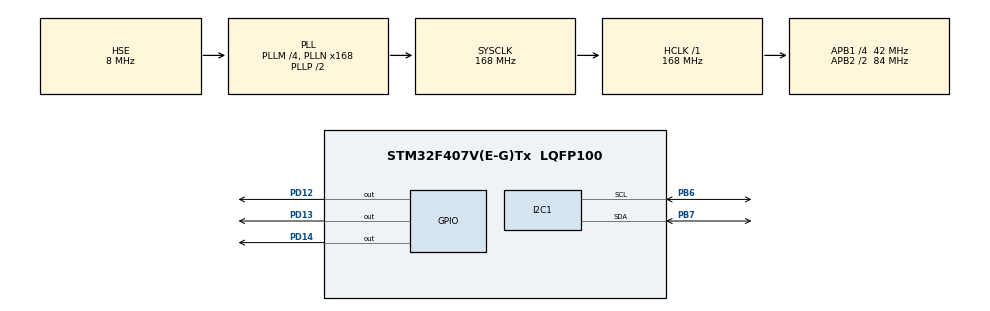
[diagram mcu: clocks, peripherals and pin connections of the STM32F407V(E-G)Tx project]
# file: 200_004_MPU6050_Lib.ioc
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Mcu.Family=STM32F4
Mcu.Name=STM32F407V(E-G)Tx
Mcu.Package=LQFP100
NVIC.PriorityGroup=NVIC_PRIORITYGROUP_4
PB6.Mode=I2C
PB6.Signal=I2C1_SCL
PB7.Mode=I2C
PB7.Signal=I2C1_SDA
PD12.Signal=GPIO_Output
PD13.Signal=GPIO_Output
PD14.Signal=GPIO_Output
PH0-OSC_IN.Mode=HSE-External-Oscillator
PH0-OSC_IN.Signal=RCC_OSC_IN
PH1-OSC_OUT.Mode=HSE-External-Oscillator
PH1-OSC_OUT.Signal=RCC_OSC_OUT
ProjectManager.HeapSize=0x200
ProjectManager.StackSize=0x400
ProjectManager.TargetToolchain=STM32CubeIDE
RCC.48MHZClocksFreq_Value=84000000
RCC.AHBFreq_Value=168000000
RCC.APB1CLKDivider=RCC_HCLK_DIV4
RCC.APB1Freq_Value=42000000
RCC.APB1TimFreq_Value=84000000
RCC.APB2CLKDivider=RCC_HCLK_DIV2
RCC.APB2Freq_Value=84000000
RCC.APB2TimFreq_Value=168000000
RCC.CortexFreq_Value=168000000
RCC.HCLKFreq_Value=168000000
RCC.HSE_VALUE=8000000
RCC.HSI_VALUE=16000000
RCC.LSE_VALUE=32768
RCC.PLLM=4
RCC.PLLN=168
RCC.PLLSourceVirtual=RCC_PLLSOURCE_HSE
RCC.SYSCLKFreq_VALUE=168000000
RCC.SYSCLKSource=RCC_SYSCLKSOURCE_PLLCLK
RCC.VCOOutputFreq_Value=336000000
board=custom

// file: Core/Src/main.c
/* USER CODE BEGIN Header */
/**
  ******************************************************************************
  * @file           : main.c
  * @brief          : Main program body
  ******************************************************************************
  * @attention
  *
  * Copyright (c) 2025 STMicroelectronics.
  * All rights reserved.
  *
  * This software is licensed under terms that can be found in the LICENSE file
  * in the root directory of this software component.
  * If no LICENSE file comes with this software, it is provided AS-IS.
  *
  ******************************************************************************
  */
/* USER CODE END Header */
#include "main.h"

/* USER CODE BEGIN Includes */
#include "mpu6050.h"
/* USER CODE END Includes */

I2C_HandleTypeDef hi2c1;

/* USER CODE BEGIN PV */
uint8_t address;
float ax, ay, az, gx, gy, gz, temperature;

float realAx, realAy, realAz;
float realGx, realGy, realGz;
double roll_degree, pitch_degree;

double angle_out_roll, angle_out_roll_1, angle_out_pitch, angle_out_pitch_1;

SensorOffset_t offset;
AngleState_t angle;
KalmanState_t kalman_roll;
KalmanState_t kalman_pitch;

float P_init[2][2] = { {1, 0}, {0, 1} };

/* USER CODE END PV */

void SystemClock_Config(void);
static void MX_GPIO_Init(void);
static void MX_I2C1_Init(void);

/* USER CODE BEGIN 0 */
void FindDevice()
{
	for(address = 0; address <= 255; address++)
		{
			if(HAL_I2C_IsDeviceReady(&hi2c1, address, 1, 1000) == HAL_OK)
			{
				HAL_GPIO_WritePin(GPIOD, GPIO_PIN_12, GPIO_PIN_SET);
				break;
			}
		}
}
/* USER CODE END 0 */

int main(void)
{

  /* MCU Configuration--------------------------------------------------------*/

  /* Reset of all peripherals, Initializes the Flash interface and the Systick. */
  HAL_Init();

  /* Configure the system clock */
  SystemClock_Config();

  /* Initialize all configured peripherals */
  MX_GPIO_Init();
  MX_I2C1_Init();
  /* USER CODE BEGIN 2 */
  FindDevice();
  MPU6050_Init(&hi2c1);
  Offset_Calibration_All(&hi2c1, &offset);
  Kalman_Init(&kalman_roll, 0, 0.0f, 0.001f, 0.003f, 0.03f, P_init);
  Kalman_Init(&kalman_pitch, 0, 0.0f, 0.001f, 0.003f, 0.03f, P_init);
  /* USER CODE END 2 */

  /* Infinite loop */
  while (1)
  {

    /* USER CODE BEGIN 3 */
	  if( MPU6050_CONVERT_ACCELL(&hi2c1, &ax, &ay, &az) == HAL_OK )
	  {
		  HAL_GPIO_TogglePin(GPIOD, GPIO_PIN_12);
	  }

	  else
	  {
		  HAL_GPIO_TogglePin(GPIOD, GPIO_PIN_12);
	  }

	  HAL_Delay(10);

	  if(MPU6050_CONVERT_GYRO(&hi2c1, &gx, &gy, &gz) == HAL_OK )
	  {
	  	 HAL_GPIO_TogglePin(GPIOD, GPIO_PIN_13);
	  }

	  else
	  {
	    HAL_GPIO_TogglePin(GPIOD, GPIO_PIN_13);
	  }

	  HAL_Delay(10);

	  if(MPU6050_CONVERT_TEMP(&hi2c1, &temperature) == HAL_OK )
	  {
	  	HAL_GPIO_TogglePin(GPIOD, GPIO_PIN_14);	  }

	  else
	  {
	  	HAL_GPIO_TogglePin(GPIOD, GPIO_PIN_14);
	  }

	  HAL_Delay(10);

	  MPU6050_GET_REAL_ACCEL(&hi2c1, &offset, &realAx, &realAy, &realAz);
	  MPU6050_GET_REAL_GYRO(&hi2c1, &offset, &realGx, &realGy, &realGz);

	  GET_ANGLE_WITH_ACCELL(&hi2c1, &offset, &roll_degree, &pitch_degree);
	  GET_ANGLE_WITH_GYRO(&hi2c1, &offset, &angle);

	  Kalman_Prediction(&kalman_pitch, &hi2c1, &angle_out_pitch, gy);
	  Kalman_Update(&hi2c1, &kalman_pitch, &offset, &angle_out_pitch_1, ay);

	  Kalman_Prediction(&kalman_roll, &hi2c1, &angle_out_roll, gx);
	  Kalman_Update(&hi2c1, &kalman_roll, &offset, &angle_out_roll_1, ax);
  }
  /* USER CODE END 3 */
}

void SystemClock_Config(void)
{
  RCC_OscInitTypeDef RCC_OscInitStruct = {0};
  RCC_ClkInitTypeDef RCC_ClkInitStruct = {0};

  /** Configure the main internal regulator output voltage
  */
  __HAL_RCC_PWR_CLK_ENABLE();
  __HAL_PWR_VOLTAGESCALING_CONFIG(PWR_REGULATOR_VOLTAGE_SCALE1);

  /** Initializes the RCC Oscillators according to the specified parameters
  * in the RCC_OscInitTypeDef structure.
  */
  RCC_OscInitStruct.OscillatorType = RCC_OSCILLATORTYPE_HSE;
  RCC_OscInitStruct.HSEState = RCC_HSE_ON;
  RCC_OscInitStruct.PLL.PLLState = RCC_PLL_ON;
  RCC_OscInitStruct.PLL.PLLSource = RCC_PLLSOURCE_HSE;
  RCC_OscInitStruct.PLL.PLLM = 4;
  RCC_OscInitStruct.PLL.PLLN = 168;
  RCC_OscInitStruct.PLL.PLLP = RCC_PLLP_DIV2;
  RCC_OscInitStruct.PLL.PLLQ = 4;
  if (HAL_RCC_OscConfig(&RCC_OscInitStruct) != HAL_OK)
  {
    Error_Handler();
  }

  /** Initializes the CPU, AHB and APB buses clocks
  */
  RCC_ClkInitStruct.ClockType = RCC_CLOCKTYPE_HCLK|RCC_CLOCKTYPE_SYSCLK
                              |RCC_CLOCKTYPE_PCLK1|RCC_CLOCKTYPE_PCLK2;
  RCC_ClkInitStruct.SYSCLKSource = RCC_SYSCLKSOURCE_PLLCLK;
  RCC_ClkInitStruct.AHBCLKDivider = RCC_SYSCLK_DIV1;
  RCC_ClkInitStruct.APB1CLKDivider = RCC_HCLK_DIV4;
  RCC_ClkInitStruct.APB2CLKDivider = RCC_HCLK_DIV2;

  if (HAL_RCC_ClockConfig(&RCC_ClkInitStruct, FLASH_LATENCY_5) != HAL_OK)
  {
    Error_Handler();
  }
}

static void MX_I2C1_Init(void)
{

  hi2c1.Instance = I2C1;
  hi2c1.Init.ClockSpeed = 100000;
  hi2c1.Init.DutyCycle = I2C_DUTYCYCLE_2;
  hi2c1.Init.OwnAddress1 = 0;
  hi2c1.Init.AddressingMode = I2C_ADDRESSINGMODE_7BIT;
  hi2c1.Init.DualAddressMode = I2C_DUALADDRESS_DISABLE;
  hi2c1.Init.OwnAddress2 = 0;
  hi2c1.Init.GeneralCallMode = I2C_GENERALCALL_DISABLE;
  hi2c1.Init.NoStretchMode = I2C_NOSTRETCH_DISABLE;
  if (HAL_I2C_Init(&hi2c1) != HAL_OK)
  {
    Error_Handler();
  }

}

static void MX_GPIO_Init(void)
{
  GPIO_InitTypeDef GPIO_InitStruct = {0};

  /* GPIO Ports Clock Enable */
  __HAL_RCC_GPIOH_CLK_ENABLE();
  __HAL_RCC_GPIOD_CLK_ENABLE();
  __HAL_RCC_GPIOB_CLK_ENABLE();

  /*Configure GPIO pin Output Level */
  HAL_GPIO_WritePin(GPIOD, GPIO_PIN_12|GPIO_PIN_13|GPIO_PIN_14, GPIO_PIN_RESET);

  /*Configure GPIO pins : PD12 PD13 PD14 */
  GPIO_InitStruct.Pin = GPIO_PIN_12|GPIO_PIN_13|GPIO_PIN_14;
  GPIO_InitStruct.Mode = GPIO_MODE_OUTPUT_PP;
  GPIO_InitStruct.Pull = GPIO_NOPULL;
  GPIO_InitStruct.Speed = GPIO_SPEED_FREQ_LOW;
  HAL_GPIO_Init(GPIOD, &GPIO_InitStruct);

}

void Error_Handler(void)
{
  __disable_irq();
  while (1)
  {
  }
}
